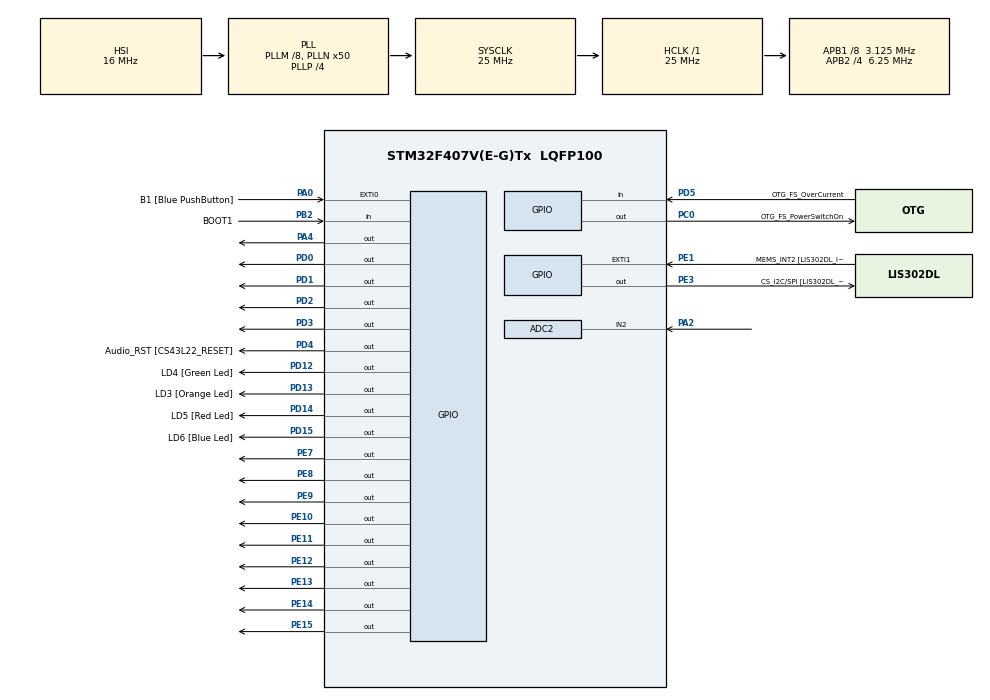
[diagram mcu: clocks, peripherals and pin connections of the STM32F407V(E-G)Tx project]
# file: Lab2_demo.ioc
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ADC2.Channel-0\#ChannelRegularConversion=ADC_CHANNEL_2
ADC2.ClockPrescaler=ADC_CLOCK_SYNC_PCLK_DIV2
ADC2.ContinuousConvMode=DISABLE
ADC2.DMAContinuousRequests=DISABLE
ADC2.DataAlign=ADC_DATAALIGN_RIGHT
ADC2.DiscontinuousConvMode=DISABLE
ADC2.EOCSelection=ADC_EOC_SINGLE_CONV
ADC2.EnableAnalogWatchDog=false
ADC2.ExternalTrigConv=ADC_EXTERNALTRIGCONV_T2_TRGO
ADC2.ExternalTrigConvEdge=ADC_EXTERNALTRIGCONVEDGE_RISING
ADC2.InjNumberOfConversion=0
ADC2.NbrOfConversion=1
ADC2.NbrOfConversionFlag=1
ADC2.Rank-0\#ChannelRegularConversion=1
ADC2.Resolution=ADC_RESOLUTION_8B
ADC2.SamplingTime-0\#ChannelRegularConversion=ADC_SAMPLETIME_3CYCLES
ADC2.ScanConvMode=DISABLE
Mcu.Family=STM32F4
Mcu.Name=STM32F407V(E-G)Tx
Mcu.Package=LQFP100
NVIC.PriorityGroup=NVIC_PRIORITYGROUP_0
NVIC.TIM2_IRQn=true\:0\:0\:false\:false\:true\:true
NVIC.TIM3_IRQn=true\:0\:0\:false\:false\:true\:true
PA0-WKUP.GPIO_Label=B1 [Blue PushButton]
PA0-WKUP.GPIO_ModeDefaultEXTI=GPIO_MODE_EVT_RISING
PA0-WKUP.GPIO_PuPd=GPIO_NOPULL
PA0-WKUP.Signal=GPXTI0
PA10.GPIO_Label=OTG_FS_ID
PA10.GPIO_Mode=GPIO_MODE_AF_PP
PA10.GPIO_PuPd=GPIO_NOPULL
PA10.GPIO_Speed=GPIO_SPEED_FREQ_LOW
PA10.Signal=USB_OTG_FS_ID
PA11.GPIO_Label=OTG_FS_DM
PA11.GPIO_Mode=GPIO_MODE_AF_PP
PA11.GPIO_PuPd=GPIO_NOPULL
PA11.GPIO_Speed=GPIO_SPEED_FREQ_LOW
PA11.Signal=USB_OTG_FS_DM
PA12.GPIO_Label=OTG_FS_DP
PA12.GPIO_Mode=GPIO_MODE_AF_PP
PA12.GPIO_PuPd=GPIO_NOPULL
PA12.GPIO_Speed=GPIO_SPEED_FREQ_LOW
PA12.Signal=USB_OTG_FS_DP
PA13.GPIO_Label=SWDIO
PA13.Signal=SYS_JTMS-SWDIO
PA14.GPIO_Label=SWCLK
PA14.Signal=SYS_JTCK-SWCLK
PA2.Signal=ADCx_IN2
PA4.Signal=GPIO_Output
PA5.GPIO_Label=SPI1_SCK [LIS302DL_SCL/SPC]
PA5.GPIO_Mode=GPIO_MODE_AF_PP
PA5.GPIO_PuPd=GPIO_NOPULL
PA5.GPIO_Speed=GPIO_SPEED_FREQ_LOW
PA5.Signal=SPI1_SCK
PA6.GPIO_Label=SPI1_MISO [LIS302DL_SDO]
PA6.GPIO_Mode=GPIO_MODE_AF_PP
PA6.GPIO_PuPd=GPIO_NOPULL
PA6.GPIO_Speed=GPIO_SPEED_FREQ_LOW
PA6.Signal=SPI1_MISO
PA7.GPIO_Label=SPI1_MOSI [LIS302DL_SDA/SDI/SDO]
PA7.GPIO_Mode=GPIO_MODE_AF_PP
PA7.GPIO_PuPd=GPIO_NOPULL
PA7.GPIO_Speed=GPIO_SPEED_FREQ_LOW
PA7.Signal=SPI1_MOSI
PA9.GPIO_Label=VBUS_FS
PA9.GPIO_Mode=GPIO_MODE_INPUT
PA9.GPIO_PuPd=GPIO_NOPULL
PA9.Signal=USB_OTG_FS_VBUS
PB10.GPIO_Label=CLK_IN [MP45DT02_CLK]
PB10.GPIO_Mode=GPIO_MODE_AF_PP
PB10.GPIO_PuPd=GPIO_NOPULL
PB10.GPIO_Speed=GPIO_SPEED_FREQ_LOW
PB10.Signal=I2S2_CK
PB2.GPIO_Label=BOOT1
PB2.GPIO_Mode=GPIO_MODE_INPUT
PB2.GPIO_PuPd=GPIO_NOPULL
PB2.Signal=GPIO_Input
PB3.GPIO_Label=SWO
PB3.Signal=SYS_JTDO-SWO
PB6.GPIO_Label=Audio_SCL [CS43L22_SCL]
PB6.GPIO_Mode=GPIO_MODE_AF_OD
PB6.GPIO_PuPd=GPIO_NOPULL
PB6.GPIO_Speed=GPIO_SPEED_FREQ_LOW
PB6.Signal=I2C1_SCL
PB9.GPIO_Label=Audio_SDA [CS43L22_SDA]
PB9.GPIO_Mode=GPIO_MODE_AF_OD
PB9.GPIO_PuPd=GPIO_NOPULL
PB9.GPIO_Speed=GPIO_SPEED_FREQ_LOW
PB9.Signal=I2C1_SDA
PC0.GPIO_Label=OTG_FS_PowerSwitchOn
PC0.GPIO_PuPd=GPIO_NOPULL
PC0.GPIO_Speed=GPIO_SPEED_FREQ_LOW
PC0.PinState=GPIO_PIN_SET
PC0.Signal=GPIO_Output
PC10.GPIO_Label=I2S3_SCK [CS43L22_SCLK]
PC10.GPIO_Mode=GPIO_MODE_AF_PP
PC10.GPIO_PuPd=GPIO_NOPULL
PC10.GPIO_Speed=GPIO_SPEED_FREQ_LOW
PC10.Signal=I2S3_CK
PC12.GPIO_Label=I2S3_SD [CS43L22_SDIN]
PC12.GPIO_Mode=GPIO_MODE_AF_PP
PC12.GPIO_PuPd=GPIO_NOPULL
PC12.GPIO_Speed=GPIO_SPEED_FREQ_LOW
PC12.Signal=I2S3_SD
PC14-OSC32_IN.GPIO_Label=PC14-OSC32_IN
PC14-OSC32_IN.Signal=RCC_OSC32_IN
PC15-OSC32_OUT.GPIO_Label=PC15-OSC32_OUT
PC15-OSC32_OUT.Signal=RCC_OSC32_OUT
PC3.GPIO_Label=PDM_OUT [MP45DT02_DOUT]
PC3.GPIO_Mode=GPIO_MODE_AF_PP
PC3.GPIO_PuPd=GPIO_NOPULL
PC3.GPIO_Speed=GPIO_SPEED_FREQ_LOW
PC3.Signal=I2S2_SD
PC7.GPIO_Label=I2S3_MCK [CS43L22_MCLK]
PC7.GPIO_Mode=GPIO_MODE_AF_PP
PC7.GPIO_PuPd=GPIO_NOPULL
PC7.GPIO_Speed=GPIO_SPEED_FREQ_LOW
PC7.Signal=I2S3_MCK
PD0.Signal=GPIO_Output
PD1.Signal=GPIO_Output
PD12.GPIO_Label=LD4 [Green Led]
PD12.GPIO_PuPd=GPIO_NOPULL
PD12.GPIO_Speed=GPIO_SPEED_FREQ_LOW
PD12.Signal=GPIO_Output
PD13.GPIO_Label=LD3 [Orange Led]
PD13.GPIO_PuPd=GPIO_NOPULL
PD13.GPIO_Speed=GPIO_SPEED_FREQ_LOW
PD13.Signal=GPIO_Output
PD14.GPIO_Label=LD5 [Red Led]
PD14.GPIO_PuPd=GPIO_NOPULL
PD14.GPIO_Speed=GPIO_SPEED_FREQ_LOW
PD14.Signal=GPIO_Output
PD15.GPIO_Label=LD6 [Blue Led]
PD15.GPIO_PuPd=GPIO_NOPULL
PD15.GPIO_Speed=GPIO_SPEED_FREQ_LOW
PD15.Signal=GPIO_Output
PD2.Signal=GPIO_Output
PD3.Signal=GPIO_Output
PD4.GPIO_Label=Audio_RST [CS43L22_RESET]
PD4.GPIO_PuPd=GPIO_NOPULL
PD4.GPIO_Speed=GPIO_SPEED_FREQ_LOW
PD4.Signal=GPIO_Output
PD5.GPIO_Label=OTG_FS_OverCurrent
PD5.GPIO_Mode=GPIO_MODE_INPUT
PD5.GPIO_PuPd=GPIO_NOPULL
PD5.Signal=GPIO_Input
PE1.GPIO_Label=MEMS_INT2 [LIS302DL_INT2]
PE1.GPIO_ModeDefaultEXTI=GPIO_MODE_EVT_RISING
PE1.GPIO_PuPd=GPIO_NOPULL
PE1.Signal=GPXTI1
PE10.Signal=GPIO_Output
PE11.Signal=GPIO_Output
PE12.Signal=GPIO_Output
PE13.Signal=GPIO_Output
PE14.Signal=GPIO_Output
PE15.Signal=GPIO_Output
PE3.GPIO_Label=CS_I2C/SPI [LIS302DL_CS_I2C/SPI]
PE3.GPIO_PuPd=GPIO_NOPULL
PE3.GPIO_Speed=GPIO_SPEED_FREQ_LOW
PE3.Signal=GPIO_Output
PE7.Signal=GPIO_Output
PE8.Signal=GPIO_Output
PE9.Signal=GPIO_Output
PH0-OSC_IN.GPIO_Label=PH0-OSC_IN
PH0-OSC_IN.Signal=RCC_OSC_IN
PH1-OSC_OUT.GPIO_Label=PH1-OSC_OUT
PH1-OSC_OUT.Signal=RCC_OSC_OUT
ProjectManager.HeapSize=0x200
ProjectManager.StackSize=0x400
ProjectManager.TargetToolchain=MDK-ARM V5
RCC.48MHZClocksFreq_Value=14285714.285714285
RCC.AHBFreq_Value=25000000
RCC.APB1CLKDivider=RCC_HCLK_DIV8
RCC.APB1Freq_Value=3125000
RCC.APB1TimFreq_Value=6250000
RCC.APB2CLKDivider=RCC_HCLK_DIV4
RCC.APB2Freq_Value=6250000
RCC.APB2TimFreq_Value=12500000
RCC.CortexFreq_Value=25000000
RCC.HCLKFreq_Value=25000000
RCC.HSE_VALUE=8000000
RCC.HSI_VALUE=16000000
RCC.LSE_VALUE=32768
RCC.PLLM=8
RCC.PLLN=50
RCC.PLLP=RCC_PLLP_DIV4
RCC.PLLQ=7
RCC.SYSCLKFreq_VALUE=25000000
RCC.SYSCLKSource=RCC_SYSCLKSOURCE_PLLCLK
RCC.VCOOutputFreq_Value=100000000
SH.ADCx_IN2.0=ADC2_IN2,IN2
TIM2.Period=1
TIM2.Prescaler=6250
TIM2.TIM_MasterOutputTrigger=TIM_TRGO_UPDATE
TIM3.Period=1
TIM3.Prescaler=390
TIM3.TIM_MasterOutputTrigger=TIM_TRGO_UPDATE
VP_TIM2_VS_ClockSourceINT.Mode=Internal
VP_TIM3_VS_ClockSourceINT.Mode=Internal
board=STM32F4DISCOVERY

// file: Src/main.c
/**
  ******************************************************************************
  * File Name          : main.c
  * Description        : Main program body
  ******************************************************************************
  ** This notice applies to any and all portions of this file
  * that are not between comment pairs USER CODE BEGIN and
  * USER CODE END. Other portions of this file, whether
  * inserted by the user or by software development tools
  * are owned by their respective copyright owners.
  *
  * COPYRIGHT(c) 2017 STMicroelectronics
  *
  * Redistribution and use in source and binary forms, with or without modification,
  * are permitted provided that the following conditions are met:
  *   1. Redistributions of source code must retain the above copyright notice,
  *      this list of conditions and the following disclaimer.
  *   2. Redistributions in binary form must reproduce the above copyright notice,
  *      this list of conditions and the following disclaimer in the documentation
  *      and/or other materials provided with the distribution.
  *   3. Neither the name of STMicroelectronics nor the names of its contributors
  *      may be used to endorse or promote products derived from this software
  *      without specific prior written permission.
  *
  * THIS SOFTWARE IS PROVIDED BY THE COPYRIGHT HOLDERS AND CONTRIBUTORS "AS IS"
  * AND ANY EXPRESS OR IMPLIED WARRANTIES, INCLUDING, BUT NOT LIMITED TO, THE
  * IMPLIED WARRANTIES OF MERCHANTABILITY AND FITNESS FOR A PARTICULAR PURPOSE ARE
  * DISCLAIMED. IN NO EVENT SHALL THE COPYRIGHT HOLDER OR CONTRIBUTORS BE LIABLE
  * FOR ANY DIRECT, INDIRECT, INCIDENTAL, SPECIAL, EXEMPLARY, OR CONSEQUENTIAL
  * DAMAGES (INCLUDING, BUT NOT LIMITED TO, PROCUREMENT OF SUBSTITUTE GOODS OR
  * SERVICES; LOSS OF USE, DATA, OR PROFITS; OR BUSINESS INTERRUPTION) HOWEVER
  * CAUSED AND ON ANY THEORY OF LIABILITY, WHETHER IN CONTRACT, STRICT LIABILITY,
  * OR TORT (INCLUDING NEGLIGENCE OR OTHERWISE) ARISING IN ANY WAY OUT OF THE USE
  * OF THIS SOFTWARE, EVEN IF ADVISED OF THE POSSIBILITY OF SUCH DAMAGE.
  *
  ******************************************************************************
  */
#include "main.h"
#include "stm32f4xx_hal.h"
#include <math.h>
#include <float.h>

ADC_HandleTypeDef hadc2;

TIM_HandleTypeDef htim2;
TIM_HandleTypeDef htim3;

/* USER CODE BEGIN PV */
/* Private variables ---------------------------------------------------------*/
#define WindowSize 1000
#define FILTERSIZE 5

uint32_t ADC2_value;
float refresh_time = 0.1;
float adcVal;
int window = WindowSize;
float val_A;
float vrms;
float buffer[WindowSize];
int isFull;
int counter;
int pos;
float rmsDisplay[FILTERSIZE]={0};
int displayIndex = 0;
/* USER CODE END PV */

void SystemClock_Config(void);
static void MX_GPIO_Init(void);
static void MX_ADC2_Init(void);
static void MX_TIM2_Init(void);
static void MX_TIM3_Init(void);

/* USER CODE BEGIN PFP */
/* Private function prototypes -----------------------------------------------*/

/* USER CODE END PFP */

/* USER CODE BEGIN 0 */
// 7 segment decoder, given a number between 0 and 9, it turns on/off the proper pins
int segmentDecoder( int value ) {
	/*
	A = PE8
	B = PE9
	C = PE10
	D = PE11
	E = PE12
	F = PE13
	G = PE14
	*/
	if ( value == 0 ) {
		HAL_GPIO_WritePin(GPIOE, GPIO_PIN_8, GPIO_PIN_SET); // A
		HAL_GPIO_WritePin(GPIOE, GPIO_PIN_9, GPIO_PIN_SET); // B
		HAL_GPIO_WritePin(GPIOE, GPIO_PIN_10, GPIO_PIN_SET); // C
		HAL_GPIO_WritePin(GPIOE, GPIO_PIN_11, GPIO_PIN_SET); // D
		HAL_GPIO_WritePin(GPIOE, GPIO_PIN_12, GPIO_PIN_SET); // E
		HAL_GPIO_WritePin(GPIOE, GPIO_PIN_13, GPIO_PIN_SET); // F
		HAL_GPIO_WritePin(GPIOE, GPIO_PIN_14, GPIO_PIN_RESET); // G
	}
	else if ( value == 1) {
		HAL_GPIO_WritePin(GPIOE, GPIO_PIN_8, GPIO_PIN_RESET); // A
		HAL_GPIO_WritePin(GPIOE, GPIO_PIN_9, GPIO_PIN_SET); // B
		HAL_GPIO_WritePin(GPIOE, GPIO_PIN_10, GPIO_PIN_SET); // C
		HAL_GPIO_WritePin(GPIOE, GPIO_PIN_11, GPIO_PIN_RESET); // D
		HAL_GPIO_WritePin(GPIOE, GPIO_PIN_12, GPIO_PIN_RESET); // E
		HAL_GPIO_WritePin(GPIOE, GPIO_PIN_13, GPIO_PIN_RESET); // F
		HAL_GPIO_WritePin(GPIOE, GPIO_PIN_14, GPIO_PIN_RESET); // G
	}
	else if ( value == 2) {
		HAL_GPIO_WritePin(GPIOE, GPIO_PIN_8, GPIO_PIN_SET); // A
		HAL_GPIO_WritePin(GPIOE, GPIO_PIN_9, GPIO_PIN_SET); // B
		HAL_GPIO_WritePin(GPIOE, GPIO_PIN_10, GPIO_PIN_RESET); // C
		HAL_GPIO_WritePin(GPIOE, GPIO_PIN_11, GPIO_PIN_SET); // D
		HAL_GPIO_WritePin(GPIOE, GPIO_PIN_12, GPIO_PIN_SET); // E
		HAL_GPIO_WritePin(GPIOE, GPIO_PIN_13, GPIO_PIN_RESET); // F
		HAL_GPIO_WritePin(GPIOE, GPIO_PIN_14, GPIO_PIN_SET); // G
	}
	else if ( value == 3) {
		HAL_GPIO_WritePin(GPIOE, GPIO_PIN_8, GPIO_PIN_SET); // A
		HAL_GPIO_WritePin(GPIOE, GPIO_PIN_9, GPIO_PIN_SET); // B
		HAL_GPIO_WritePin(GPIOE, GPIO_PIN_10, GPIO_PIN_SET); // C
		HAL_GPIO_WritePin(GPIOE, GPIO_PIN_11, GPIO_PIN_SET); // D
		HAL_GPIO_WritePin(GPIOE, GPIO_PIN_12, GPIO_PIN_RESET); // E
		HAL_GPIO_WritePin(GPIOE, GPIO_PIN_13, GPIO_PIN_RESET); // F
		HAL_GPIO_WritePin(GPIOE, GPIO_PIN_14, GPIO_PIN_SET); // G
	}
	else if ( value == 4) {
		HAL_GPIO_WritePin(GPIOE, GPIO_PIN_8, GPIO_PIN_RESET); // A
		HAL_GPIO_WritePin(GPIOE, GPIO_PIN_9, GPIO_PIN_SET); // B
		HAL_GPIO_WritePin(GPIOE, GPIO_PIN_10, GPIO_PIN_SET); // C
		HAL_GPIO_WritePin(GPIOE, GPIO_PIN_11, GPIO_PIN_RESET); // D
		HAL_GPIO_WritePin(GPIOE, GPIO_PIN_12, GPIO_PIN_RESET); // E
		HAL_GPIO_WritePin(GPIOE, GPIO_PIN_13, GPIO_PIN_SET); // F
		HAL_GPIO_WritePin(GPIOE, GPIO_PIN_14, GPIO_PIN_SET); // G
	}
	else if ( value == 5) {
		HAL_GPIO_WritePin(GPIOE, GPIO_PIN_8, GPIO_PIN_SET); // A
		HAL_GPIO_WritePin(GPIOE, GPIO_PIN_9, GPIO_PIN_RESET); // B
		HAL_GPIO_WritePin(GPIOE, GPIO_PIN_10, GPIO_PIN_SET); // C
		HAL_GPIO_WritePin(GPIOE, GPIO_PIN_11, GPIO_PIN_SET); // D
		HAL_GPIO_WritePin(GPIOE, GPIO_PIN_12, GPIO_PIN_RESET); // E
		HAL_GPIO_WritePin(GPIOE, GPIO_PIN_13, GPIO_PIN_SET); // F
		HAL_GPIO_WritePin(GPIOE, GPIO_PIN_14, GPIO_PIN_SET); // G
	}
	else if ( value == 6) {
		HAL_GPIO_WritePin(GPIOE, GPIO_PIN_8, GPIO_PIN_SET); // A
		HAL_GPIO_WritePin(GPIOE, GPIO_PIN_9, GPIO_PIN_RESET); // B
		HAL_GPIO_WritePin(GPIOE, GPIO_PIN_10, GPIO_PIN_SET); // C
		HAL_GPIO_WritePin(GPIOE, GPIO_PIN_11, GPIO_PIN_SET); // D
		HAL_GPIO_WritePin(GPIOE, GPIO_PIN_12, GPIO_PIN_SET); // E
		HAL_GPIO_WritePin(GPIOE, GPIO_PIN_13, GPIO_PIN_SET); // F
		HAL_GPIO_WritePin(GPIOE, GPIO_PIN_14, GPIO_PIN_SET); // G
	}
	else if ( value == 7) {
		HAL_GPIO_WritePin(GPIOE, GPIO_PIN_8, GPIO_PIN_SET); // A
		HAL_GPIO_WritePin(GPIOE, GPIO_PIN_9, GPIO_PIN_SET); // B
		HAL_GPIO_WritePin(GPIOE, GPIO_PIN_10, GPIO_PIN_SET); // C
		HAL_GPIO_WritePin(GPIOE, GPIO_PIN_11, GPIO_PIN_RESET); // D
		HAL_GPIO_WritePin(GPIOE, GPIO_PIN_12, GPIO_PIN_RESET); // E
		HAL_GPIO_WritePin(GPIOE, GPIO_PIN_13, GPIO_PIN_RESET); // F
		HAL_GPIO_WritePin(GPIOE, GPIO_PIN_14, GPIO_PIN_RESET); // G
	}
	else if ( value == 8) {
		HAL_GPIO_WritePin(GPIOE, GPIO_PIN_8, GPIO_PIN_SET); // A
		HAL_GPIO_WritePin(GPIOE, GPIO_PIN_9, GPIO_PIN_SET); // B
		HAL_GPIO_WritePin(GPIOE, GPIO_PIN_10, GPIO_PIN_SET); // C
		HAL_GPIO_WritePin(GPIOE, GPIO_PIN_11, GPIO_PIN_SET); // D
		HAL_GPIO_WritePin(GPIOE, GPIO_PIN_12, GPIO_PIN_SET); // E
		HAL_GPIO_WritePin(GPIOE, GPIO_PIN_13, GPIO_PIN_SET); // F
		HAL_GPIO_WritePin(GPIOE, GPIO_PIN_14, GPIO_PIN_SET); // G
	}
	else if ( value == 9) {
		HAL_GPIO_WritePin(GPIOE, GPIO_PIN_8, GPIO_PIN_SET); // A
		HAL_GPIO_WritePin(GPIOE, GPIO_PIN_9, GPIO_PIN_SET); // B
		HAL_GPIO_WritePin(GPIOE, GPIO_PIN_10, GPIO_PIN_SET); // C
		HAL_GPIO_WritePin(GPIOE, GPIO_PIN_11, GPIO_PIN_SET); // D
		HAL_GPIO_WritePin(GPIOE, GPIO_PIN_12, GPIO_PIN_RESET); // E
		HAL_GPIO_WritePin(GPIOE, GPIO_PIN_13, GPIO_PIN_SET); // F
		HAL_GPIO_WritePin(GPIOE, GPIO_PIN_14, GPIO_PIN_SET); // G
	}
	//Reset all
	else if ( value == -1){
		HAL_GPIO_WritePin(GPIOE, GPIO_PIN_8,  GPIO_PIN_RESET); // A
		HAL_GPIO_WritePin(GPIOE, GPIO_PIN_9,  GPIO_PIN_RESET); // B
		HAL_GPIO_WritePin(GPIOE, GPIO_PIN_10, GPIO_PIN_RESET); // C
		HAL_GPIO_WritePin(GPIOE, GPIO_PIN_11, GPIO_PIN_RESET); // D
		HAL_GPIO_WritePin(GPIOE, GPIO_PIN_12, GPIO_PIN_RESET); // E
		HAL_GPIO_WritePin(GPIOE, GPIO_PIN_13, GPIO_PIN_RESET); // F
		HAL_GPIO_WritePin(GPIOE, GPIO_PIN_14, GPIO_PIN_RESET); // G
	}
	return 0;
}

// Given 4 avaiable digit slots on the LED, useDigit selects which slot to turn on (1 to 4).
void useDigit(int digit){
	if ( digit == 1 ){
			HAL_GPIO_WritePin(GPIOE, GPIO_PIN_7, GPIO_PIN_RESET);
			HAL_GPIO_WritePin(GPIOD, GPIO_PIN_0, GPIO_PIN_RESET);
			HAL_GPIO_WritePin(GPIOD, GPIO_PIN_1, GPIO_PIN_SET);
			HAL_GPIO_WritePin(GPIOD, GPIO_PIN_2, GPIO_PIN_SET);
			HAL_GPIO_WritePin(GPIOD, GPIO_PIN_3, GPIO_PIN_SET);
	}
	else if ( digit == 2 ) {
			HAL_GPIO_WritePin(GPIOE, GPIO_PIN_7, GPIO_PIN_SET);
			HAL_GPIO_WritePin(GPIOD, GPIO_PIN_0, GPIO_PIN_SET);
			HAL_GPIO_WritePin(GPIOD, GPIO_PIN_1, GPIO_PIN_RESET);
			HAL_GPIO_WritePin(GPIOD, GPIO_PIN_2, GPIO_PIN_SET);
			HAL_GPIO_WritePin(GPIOD, GPIO_PIN_3, GPIO_PIN_SET);
	}
	else if ( digit == 3 ) {
			HAL_GPIO_WritePin(GPIOE, GPIO_PIN_7, GPIO_PIN_RESET);
			HAL_GPIO_WritePin(GPIOD, GPIO_PIN_0, GPIO_PIN_SET);
			HAL_GPIO_WritePin(GPIOD, GPIO_PIN_1, GPIO_PIN_SET);
			HAL_GPIO_WritePin(GPIOD, GPIO_PIN_2, GPIO_PIN_RESET);
			HAL_GPIO_WritePin(GPIOD, GPIO_PIN_3, GPIO_PIN_SET);
	}
	else if ( digit == 4 ) {
			HAL_GPIO_WritePin(GPIOE, GPIO_PIN_7, GPIO_PIN_RESET);
			HAL_GPIO_WritePin(GPIOD, GPIO_PIN_0, GPIO_PIN_SET);
			HAL_GPIO_WritePin(GPIOD, GPIO_PIN_1, GPIO_PIN_SET);
			HAL_GPIO_WritePin(GPIOD, GPIO_PIN_2, GPIO_PIN_SET);
			HAL_GPIO_WritePin(GPIOD, GPIO_PIN_3, GPIO_PIN_RESET);
	}

}

// showDigits takes in a float number and displays the invidual digits accordingly.
int showDigits(float digits) {
	// Digits = 12.34
	int temp;
  temp = (int)(digits * 100); // temp = 1234
  useDigit(1);
  segmentDecoder(temp / 1000); // 1234/1000 = 1
  HAL_Delay(refresh_time);
  useDigit(2);
  temp = temp % 1000; // 1234 mod 1000 = 234
  segmentDecoder(temp / 100); // 234 / 100 = 2
  HAL_Delay(refresh_time);
  useDigit(3);
  temp = temp % 100; // 234 mod 100 = 34
  segmentDecoder(temp / 10); // 34 / 10 = 3
  HAL_Delay(refresh_time);
  useDigit(4);
  temp = temp % 10; // 34 mod 10 = 4
  segmentDecoder(temp); //  4
  HAL_Delay(refresh_time);
  return 0;
}

//Reset all digit slots
int resetLED() {
		useDigit(1);
		segmentDecoder(-1);
		HAL_Delay(refresh_time);
		useDigit(2);
		segmentDecoder(-1);
		HAL_Delay(refresh_time);
		useDigit(3);
		segmentDecoder(-1);
		HAL_Delay(refresh_time);
		useDigit(4);
		segmentDecoder(-1);
		HAL_Delay(refresh_time);
	return 0;
}

void safe_add() {
		// a = val_A
		// b = buffer[pos];
    if (val_A > 0 && buffer[pos] > FLT_MAX - val_A) {
        /* handle overflow */
				val_A = val_A - buffer[pos+1]*buffer[pos-1] - buffer[pos+2]*buffer[pos-2];
				buffer[pos] = buffer[pos-1];
		}
}

// calculate Vrms from adc value
void calculateRMS(){
	// read adc pin
	ADC2_value = HAL_ADC_GetValue(&hadc2);
	adcVal = 3.0*ADC2_value/255.0;

	// fill the buffer until it's full
	if (counter < window && isFull != window) {
		buffer[counter] = adcVal;
		val_A = val_A + buffer[counter]*buffer[counter];
		counter += 1;
		isFull += 1;
	}
	// if buffer is full, calculate Vrms
	else {
		pos = counter % window;
		vrms = sqrt(val_A/window);
		displayIndex = displayIndex % FILTERSIZE;
		rmsDisplay[displayIndex] = vrms;
		displayIndex = displayIndex+1;
		val_A = val_A - buffer[pos]*buffer[pos];
		buffer[pos] = adcVal;
		safe_add();
		val_A = val_A + buffer[pos]*buffer[pos];
		counter = (counter+1) % window;
	}
}

// calculate mean of Vrms in rms buffer
float calculateMean() {
	float mean =0;

	for (int i=0;i<FILTERSIZE;i++){
		mean = mean + rmsDisplay[i];
	}
	mean = mean/FILTERSIZE;

	return mean;
}
/* USER CODE END 0 */

int main(void)
{

  /* MCU Configuration----------------------------------------------------------*/

  /* Reset of all peripherals, Initializes the Flash interface and the Systick. */
  HAL_Init();

  /* Configure the system clock */
  SystemClock_Config();

  /* Initialize all configured peripherals */
  MX_GPIO_Init();
  MX_ADC2_Init();
  MX_TIM2_Init();
  MX_TIM3_Init();

  /* USER CODE BEGIN 2 */
	HAL_TIM_Base_Start_IT(&htim2);
	HAL_TIM_Base_Start_IT(&htim3);
	HAL_ADC_Start(&hadc2);

  /* USER CODE END 2 */

  /* Infinite loop */
  while (1)
  {

  /* USER CODE BEGIN 3 */
		showDigits(calculateMean());
  }
  /* USER CODE END 3 */

}

// we have 2 timers with different frequency
// htim2 for adc and htim3 for signal generation
void HAL_TIM_PeriodElapsedCallback(TIM_HandleTypeDef *htim) {
	/* use below commented code to measure actual frequency of htim2
	if (htim == &htim2){
			HAL_GPIO_TogglePin(GPIOA, GPIO_PIN_4);
	}
	*/
	if (htim == &htim2) {
		calculateRMS();
	}
	//Generate SquareWave with frequency ~50Hz
	if(htim == &htim3) {
		HAL_GPIO_TogglePin(GPIOA, GPIO_PIN_4);
	}
}
/** System Clock Configuration
*/
void SystemClock_Config(void)
{

  RCC_OscInitTypeDef RCC_OscInitStruct;
  RCC_ClkInitTypeDef RCC_ClkInitStruct;

    /**Configure the main internal regulator output voltage
    */
  __HAL_RCC_PWR_CLK_ENABLE();

  __HAL_PWR_VOLTAGESCALING_CONFIG(PWR_REGULATOR_VOLTAGE_SCALE1);

    /**Initializes the CPU, AHB and APB busses clocks
    */
  RCC_OscInitStruct.OscillatorType = RCC_OSCILLATORTYPE_HSI;
  RCC_OscInitStruct.HSIState = RCC_HSI_ON;
  RCC_OscInitStruct.HSICalibrationValue = 16;
  RCC_OscInitStruct.PLL.PLLState = RCC_PLL_ON;
  RCC_OscInitStruct.PLL.PLLSource = RCC_PLLSOURCE_HSI;
  RCC_OscInitStruct.PLL.PLLM = 8;
  RCC_OscInitStruct.PLL.PLLN = 50;
  RCC_OscInitStruct.PLL.PLLP = RCC_PLLP_DIV4;
  RCC_OscInitStruct.PLL.PLLQ = 7;
  if (HAL_RCC_OscConfig(&RCC_OscInitStruct) != HAL_OK)
  {
    _Error_Handler(__FILE__, __LINE__);
  }

    /**Initializes the CPU, AHB and APB busses clocks
    */
  RCC_ClkInitStruct.ClockType = RCC_CLOCKTYPE_HCLK|RCC_CLOCKTYPE_SYSCLK
                              |RCC_CLOCKTYPE_PCLK1|RCC_CLOCKTYPE_PCLK2;
  RCC_ClkInitStruct.SYSCLKSource = RCC_SYSCLKSOURCE_PLLCLK;
  RCC_ClkInitStruct.AHBCLKDivider = RCC_SYSCLK_DIV1;
  RCC_ClkInitStruct.APB1CLKDivider = RCC_HCLK_DIV8;
  RCC_ClkInitStruct.APB2CLKDivider = RCC_HCLK_DIV4;

  if (HAL_RCC_ClockConfig(&RCC_ClkInitStruct, FLASH_LATENCY_0) != HAL_OK)
  {
    _Error_Handler(__FILE__, __LINE__);
  }

    /**Configure the Systick interrupt time
    */
  HAL_SYSTICK_Config(HAL_RCC_GetHCLKFreq()/1000);

    /**Configure the Systick
    */
  HAL_SYSTICK_CLKSourceConfig(SYSTICK_CLKSOURCE_HCLK);

  /* SysTick_IRQn interrupt configuration */
  HAL_NVIC_SetPriority(SysTick_IRQn, 0, 0);
}

/* ADC2 init function */
static void MX_ADC2_Init(void)
{

  ADC_ChannelConfTypeDef sConfig;

    /**Configure the global features of the ADC (Clock, Resolution, Data Alignment and number of conversion)
    */
  hadc2.Instance = ADC2;
  hadc2.Init.ClockPrescaler = ADC_CLOCK_SYNC_PCLK_DIV2;
  hadc2.Init.Resolution = ADC_RESOLUTION_8B;
  hadc2.Init.ScanConvMode = DISABLE;
  hadc2.Init.ContinuousConvMode = DISABLE;
  hadc2.Init.DiscontinuousConvMode = DISABLE;
  hadc2.Init.ExternalTrigConvEdge = ADC_EXTERNALTRIGCONVEDGE_RISING;
  hadc2.Init.ExternalTrigConv = ADC_EXTERNALTRIGCONV_T2_TRGO;
  hadc2.Init.DataAlign = ADC_DATAALIGN_RIGHT;
  hadc2.Init.NbrOfConversion = 1;
  hadc2.Init.DMAContinuousRequests = DISABLE;
  hadc2.Init.EOCSelection = ADC_EOC_SINGLE_CONV;
  if (HAL_ADC_Init(&hadc2) != HAL_OK)
  {
    _Error_Handler(__FILE__, __LINE__);
  }

    /**Configure for the selected ADC regular channel its corresponding rank in the sequencer and its sample time.
    */
  sConfig.Channel = ADC_CHANNEL_2;
  sConfig.Rank = 1;
  sConfig.SamplingTime = ADC_SAMPLETIME_3CYCLES;
  if (HAL_ADC_ConfigChannel(&hadc2, &sConfig) != HAL_OK)
  {
    _Error_Handler(__FILE__, __LINE__);
  }

}

/* TIM2 init function */
static void MX_TIM2_Init(void)
{

  TIM_ClockConfigTypeDef sClockSourceConfig;
  TIM_MasterConfigTypeDef sMasterConfig;

  htim2.Instance = TIM2;
  htim2.Init.Prescaler = 6250;
  htim2.Init.CounterMode = TIM_COUNTERMODE_UP;
  htim2.Init.Period = 1;
  htim2.Init.ClockDivision = TIM_CLOCKDIVISION_DIV1;
  if (HAL_TIM_Base_Init(&htim2) != HAL_OK)
  {
    _Error_Handler(__FILE__, __LINE__);
  }

  sClockSourceConfig.ClockSource = TIM_CLOCKSOURCE_INTERNAL;
  if (HAL_TIM_ConfigClockSource(&htim2, &sClockSourceConfig) != HAL_OK)
  {
    _Error_Handler(__FILE__, __LINE__);
  }

  sMasterConfig.MasterOutputTrigger = TIM_TRGO_UPDATE;
  sMasterConfig.MasterSlaveMode = TIM_MASTERSLAVEMODE_DISABLE;
  if (HAL_TIMEx_MasterConfigSynchronization(&htim2, &sMasterConfig) != HAL_OK)
  {
    _Error_Handler(__FILE__, __LINE__);
  }

}

/* TIM3 init function */
static void MX_TIM3_Init(void)
{

  TIM_ClockConfigTypeDef sClockSourceConfig;
  TIM_MasterConfigTypeDef sMasterConfig;

  htim3.Instance = TIM3;
  htim3.Init.Prescaler = 6250;
  htim3.Init.CounterMode = TIM_COUNTERMODE_UP;
  htim3.Init.Period = 9;
  htim3.Init.ClockDivision = TIM_CLOCKDIVISION_DIV1;
  if (HAL_TIM_Base_Init(&htim3) != HAL_OK)
  {
    _Error_Handler(__FILE__, __LINE__);
  }

  sClockSourceConfig.ClockSource = TIM_CLOCKSOURCE_INTERNAL;
  if (HAL_TIM_ConfigClockSource(&htim3, &sClockSourceConfig) != HAL_OK)
  {
    _Error_Handler(__FILE__, __LINE__);
  }

  sMasterConfig.MasterOutputTrigger = TIM_TRGO_UPDATE;
  sMasterConfig.MasterSlaveMode = TIM_MASTERSLAVEMODE_DISABLE;
  if (HAL_TIMEx_MasterConfigSynchronization(&htim3, &sMasterConfig) != HAL_OK)
  {
    _Error_Handler(__FILE__, __LINE__);
  }

}

/** Configure pins as
        * Analog
        * Input
        * Output
        * EVENT_OUT
        * EXTI
     PC3   ------> I2S2_SD
     PA5   ------> SPI1_SCK
     PA6   ------> SPI1_MISO
     PA7   ------> SPI1_MOSI
     PB10   ------> I2S2_CK
     PC7   ------> I2S3_MCK
     PA9   ------> USB_OTG_FS_VBUS
     PA10   ------> USB_OTG_FS_ID
     PA11   ------> USB_OTG_FS_DM
     PA12   ------> USB_OTG_FS_DP
     PC10   ------> I2S3_CK
     PC12   ------> I2S3_SD
     PB6   ------> I2C1_SCL
     PB9   ------> I2C1_SDA
*/
static void MX_GPIO_Init(void)
{

  GPIO_InitTypeDef GPIO_InitStruct;

  /* GPIO Ports Clock Enable */
  __HAL_RCC_GPIOE_CLK_ENABLE();
  __HAL_RCC_GPIOC_CLK_ENABLE();
  __HAL_RCC_GPIOH_CLK_ENABLE();
  __HAL_RCC_GPIOA_CLK_ENABLE();
  __HAL_RCC_GPIOB_CLK_ENABLE();
  __HAL_RCC_GPIOD_CLK_ENABLE();

  /*Configure GPIO pin Output Level */
  HAL_GPIO_WritePin(GPIOE, CS_I2C_SPI_Pin|GPIO_PIN_7|GPIO_PIN_8|GPIO_PIN_9
                          |GPIO_PIN_10|GPIO_PIN_11|GPIO_PIN_12|GPIO_PIN_13
                          |GPIO_PIN_14|GPIO_PIN_15, GPIO_PIN_RESET);

  /*Configure GPIO pin Output Level */
  HAL_GPIO_WritePin(OTG_FS_PowerSwitchOn_GPIO_Port, OTG_FS_PowerSwitchOn_Pin, GPIO_PIN_SET);

  /*Configure GPIO pin Output Level */
  HAL_GPIO_WritePin(GPIOA, GPIO_PIN_4, GPIO_PIN_RESET);

  /*Configure GPIO pin Output Level */
  HAL_GPIO_WritePin(GPIOD, LD4_Pin|LD3_Pin|LD5_Pin|LD6_Pin
                          |GPIO_PIN_0|GPIO_PIN_1|GPIO_PIN_2|GPIO_PIN_3
                          |Audio_RST_Pin, GPIO_PIN_RESET);

  /*Configure GPIO pins : CS_I2C_SPI_Pin PE7 PE8 PE9
                           PE10 PE11 PE12 PE13
                           PE14 PE15 */
  GPIO_InitStruct.Pin = CS_I2C_SPI_Pin|GPIO_PIN_7|GPIO_PIN_8|GPIO_PIN_9
                          |GPIO_PIN_10|GPIO_PIN_11|GPIO_PIN_12|GPIO_PIN_13
                          |GPIO_PIN_14|GPIO_PIN_15;
  GPIO_InitStruct.Mode = GPIO_MODE_OUTPUT_PP;
  GPIO_InitStruct.Pull = GPIO_NOPULL;
  GPIO_InitStruct.Speed = GPIO_SPEED_FREQ_LOW;
  HAL_GPIO_Init(GPIOE, &GPIO_InitStruct);

  /*Configure GPIO pin : OTG_FS_PowerSwitchOn_Pin */
  GPIO_InitStruct.Pin = OTG_FS_PowerSwitchOn_Pin;
  GPIO_InitStruct.Mode = GPIO_MODE_OUTPUT_PP;
  GPIO_InitStruct.Pull = GPIO_NOPULL;
  GPIO_InitStruct.Speed = GPIO_SPEED_FREQ_LOW;
  HAL_GPIO_Init(OTG_FS_PowerSwitchOn_GPIO_Port, &GPIO_InitStruct);

  /*Configure GPIO pin : PDM_OUT_Pin */
  GPIO_InitStruct.Pin = PDM_OUT_Pin;
  GPIO_InitStruct.Mode = GPIO_MODE_AF_PP;
  GPIO_InitStruct.Pull = GPIO_NOPULL;
  GPIO_InitStruct.Speed = GPIO_SPEED_FREQ_LOW;
  GPIO_InitStruct.Alternate = GPIO_AF5_SPI2;
  HAL_GPIO_Init(PDM_OUT_GPIO_Port, &GPIO_InitStruct);

  /*Configure GPIO pin : B1_Pin */
  GPIO_InitStruct.Pin = B1_Pin;
  GPIO_InitStruct.Mode = GPIO_MODE_EVT_RISING;
  GPIO_InitStruct.Pull = GPIO_NOPULL;
  HAL_GPIO_Init(B1_GPIO_Port, &GPIO_InitStruct);

  /*Configure GPIO pin : PA4 */
  GPIO_InitStruct.Pin = GPIO_PIN_4;
  GPIO_InitStruct.Mode = GPIO_MODE_OUTPUT_PP;
  GPIO_InitStruct.Pull = GPIO_NOPULL;
  GPIO_InitStruct.Speed = GPIO_SPEED_FREQ_LOW;
  HAL_GPIO_Init(GPIOA, &GPIO_InitStruct);

  /*Configure GPIO pins : SPI1_SCK_Pin SPI1_MISO_Pin SPI1_MOSI_Pin */
  GPIO_InitStruct.Pin = SPI1_SCK_Pin|SPI1_MISO_Pin|SPI1_MOSI_Pin;
  GPIO_InitStruct.Mode = GPIO_MODE_AF_PP;
  GPIO_InitStruct.Pull = GPIO_NOPULL;
  GPIO_InitStruct.Speed = GPIO_SPEED_FREQ_LOW;
  GPIO_InitStruct.Alternate = GPIO_AF5_SPI1;
  HAL_GPIO_Init(GPIOA, &GPIO_InitStruct);

  /*Configure GPIO pin : BOOT1_Pin */
  GPIO_InitStruct.Pin = BOOT1_Pin;
  GPIO_InitStruct.Mode = GPIO_MODE_INPUT;
  GPIO_InitStruct.Pull = GPIO_NOPULL;
  HAL_GPIO_Init(BOOT1_GPIO_Port, &GPIO_InitStruct);

  /*Configure GPIO pin : CLK_IN_Pin */
  GPIO_InitStruct.Pin = CLK_IN_Pin;
  GPIO_InitStruct.Mode = GPIO_MODE_AF_PP;
  GPIO_InitStruct.Pull = GPIO_NOPULL;
  GPIO_InitStruct.Speed = GPIO_SPEED_FREQ_LOW;
  GPIO_InitStruct.Alternate = GPIO_AF5_SPI2;
  HAL_GPIO_Init(CLK_IN_GPIO_Port, &GPIO_InitStruct);

  /*Configure GPIO pins : LD4_Pin LD3_Pin LD5_Pin LD6_Pin
                           PD0 PD1 PD2 PD3
                           Audio_RST_Pin */
  GPIO_InitStruct.Pin = LD4_Pin|LD3_Pin|LD5_Pin|LD6_Pin
                          |GPIO_PIN_0|GPIO_PIN_1|GPIO_PIN_2|GPIO_PIN_3
                          |Audio_RST_Pin;
  GPIO_InitStruct.Mode = GPIO_MODE_OUTPUT_PP;
  GPIO_InitStruct.Pull = GPIO_NOPULL;
  GPIO_InitStruct.Speed = GPIO_SPEED_FREQ_LOW;
  HAL_GPIO_Init(GPIOD, &GPIO_InitStruct);

  /*Configure GPIO pins : I2S3_MCK_Pin I2S3_SCK_Pin I2S3_SD_Pin */
  GPIO_InitStruct.Pin = I2S3_MCK_Pin|I2S3_SCK_Pin|I2S3_SD_Pin;
  GPIO_InitStruct.Mode = GPIO_MODE_AF_PP;
  GPIO_InitStruct.Pull = GPIO_NOPULL;
  GPIO_InitStruct.Speed = GPIO_SPEED_FREQ_LOW;
  GPIO_InitStruct.Alternate = GPIO_AF6_SPI3;
  HAL_GPIO_Init(GPIOC, &GPIO_InitStruct);

  /*Configure GPIO pin : VBUS_FS_Pin */
  GPIO_InitStruct.Pin = VBUS_FS_Pin;
  GPIO_InitStruct.Mode = GPIO_MODE_INPUT;
  GPIO_InitStruct.Pull = GPIO_NOPULL;
  HAL_GPIO_Init(VBUS_FS_GPIO_Port, &GPIO_InitStruct);

  /*Configure GPIO pins : OTG_FS_ID_Pin OTG_FS_DM_Pin OTG_FS_DP_Pin */
  GPIO_InitStruct.Pin = OTG_FS_ID_Pin|OTG_FS_DM_Pin|OTG_FS_DP_Pin;
  GPIO_InitStruct.Mode = GPIO_MODE_AF_PP;
  GPIO_InitStruct.Pull = GPIO_NOPULL;
  GPIO_InitStruct.Speed = GPIO_SPEED_FREQ_LOW;
  GPIO_InitStruct.Alternate = GPIO_AF10_OTG_FS;
  HAL_GPIO_Init(GPIOA, &GPIO_InitStruct);

  /*Configure GPIO pin : OTG_FS_OverCurrent_Pin */
  GPIO_InitStruct.Pin = OTG_FS_OverCurrent_Pin;
  GPIO_InitStruct.Mode = GPIO_MODE_INPUT;
  GPIO_InitStruct.Pull = GPIO_NOPULL;
  HAL_GPIO_Init(OTG_FS_OverCurrent_GPIO_Port, &GPIO_InitStruct);

  /*Configure GPIO pins : Audio_SCL_Pin Audio_SDA_Pin */
  GPIO_InitStruct.Pin = Audio_SCL_Pin|Audio_SDA_Pin;
  GPIO_InitStruct.Mode = GPIO_MODE_AF_OD;
  GPIO_InitStruct.Pull = GPIO_PULLUP;
  GPIO_InitStruct.Speed = GPIO_SPEED_FREQ_LOW;
  GPIO_InitStruct.Alternate = GPIO_AF4_I2C1;
  HAL_GPIO_Init(GPIOB, &GPIO_InitStruct);

  /*Configure GPIO pin : MEMS_INT2_Pin */
  GPIO_InitStruct.Pin = MEMS_INT2_Pin;
  GPIO_InitStruct.Mode = GPIO_MODE_EVT_RISING;
  GPIO_InitStruct.Pull = GPIO_NOPULL;
  HAL_GPIO_Init(MEMS_INT2_GPIO_Port, &GPIO_InitStruct);

}

void _Error_Handler(char * file, int line)
{
  while(1)
  {
  }
}

/************************ (C) COPYRIGHT STMicroelectronics *****END OF FILE****/
